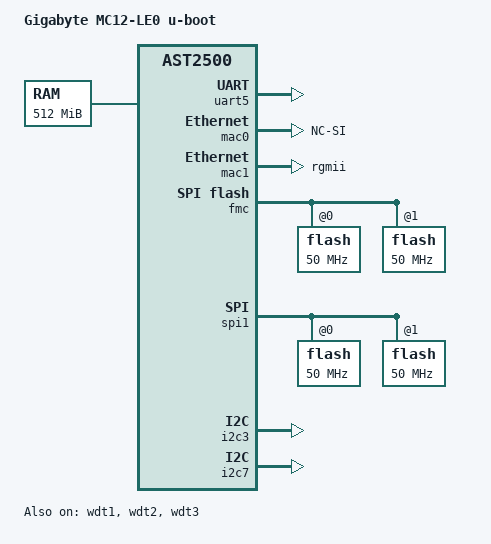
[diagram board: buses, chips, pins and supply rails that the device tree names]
/dts-v1/;

#include "ast2500-u-boot.dtsi"

/ {
        model = "Gigabyte MC12-LE0 u-boot";
        compatible = "gigabyte,mc12-le0-u-boot", "aspeed,ast2500";
        aliases {
                spi0 = &fmc;
                spi1 = &spi1;
                ethernet0 = &mac0;
                ethernet1 = &mac1;
        };

        memory@80000000 {
                device_type = "memory";
                reg = <0x80000000 0x20000000>;
        };

        chosen {
                stdout-path = &uart5;
        };

};

&uart5 {
        u-boot,dm-pre-reloc;
        status = "okay";
};

&sdrammc {
        clock-frequency = <400000000>;
};

&wdt1 {
        u-boot,dm-pre-reloc;
        status = "okay";
};

&wdt2 {
        u-boot,dm-pre-reloc;
        status = "okay";
};

&wdt3 {
        u-boot,dm-pre-reloc;
        status = "okay";
};

&mac0 {
        status = "okay";
        phy-mode = "NC-SI";
        use-ncsi;
        pinctrl-names = "default";
        pinctrl-0 = <&pinctrl_mac1link_default>;
};

&mac1 {
        status = "okay";
        phy-mode = "rgmii";
        pinctrl-names = "default";
        pinctrl-0 = <&pinctrl_mac2link_default>;
};

&fmc {
        status = "okay";
        flash@0 {
                status = "okay";
                spi-max-frequency = <50000000>;
                spi-tx-bus-width = <2>;
                spi-rx-bus-width = <2>;
        };

        flash@1 {
                status = "okay";
                spi-max-frequency = <50000000>;
                spi-tx-bus-width = <2>;
                spi-rx-bus-width = <2>;
        };
};

&spi1 {
        status = "okay";
        flash@0 {
                pinctrl-names = "default";
                pinctrl-0 = <&pinctrl_spi1_default>;
                status = "okay";
                spi-max-frequency = <50000000>;
                spi-tx-bus-width = <2>;
                spi-rx-bus-width = <2>;
        };
        flash@1 {
                pinctrl-names = "default";
                pinctrl-0 = <&pinctrl_spi1_default &pinctrl_spi1cs1_default>;
                status = "okay";
                spi-max-frequency = <50000000>;
                spi-tx-bus-width = <2>;
                spi-rx-bus-width = <2>;
        };
};

&i2c3 {
        status = "okay";

};

&i2c7 {
        status = "okay";

};
